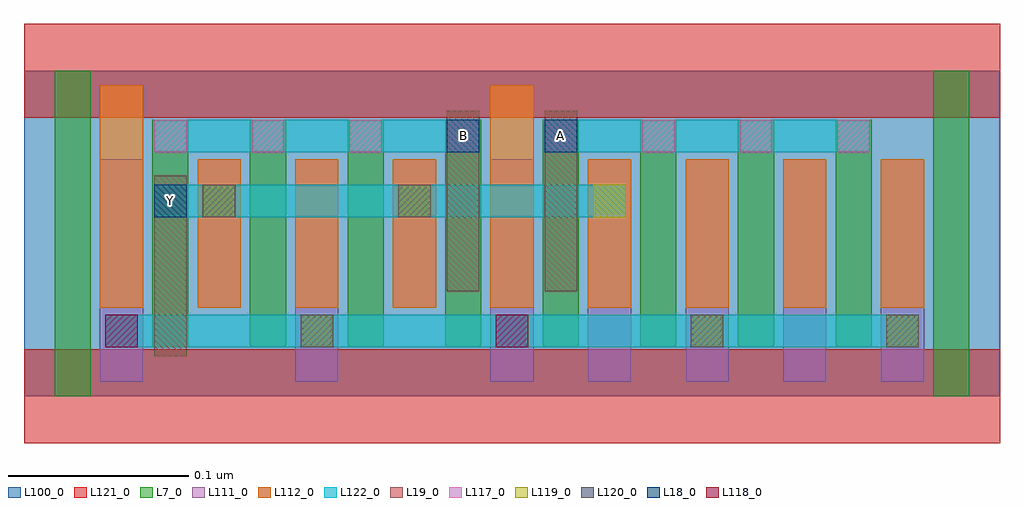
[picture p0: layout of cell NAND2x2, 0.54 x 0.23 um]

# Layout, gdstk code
import gdstk
lib = gdstk.Library(unit=1e-6, precision=2.5e-10)
def R(c, l, rs):  # rectangles x0, y0, x1, y1
    for r in rs: c.add(gdstk.rectangle(r[:2], r[2:], *l))
def A(c, l, x, y, w, h, nx, ny, dx, dy):  # array of equal rectangles
    R(c, l, [(x+i*dx, y+j*dy, x+i*dx+w, y+j*dy+h) for i in range(nx) for j in range(ny)])
L7_0 = (7, 0)
L18_0 = (18, 0)
L19_0 = (19, 0)
L100_0 = (100, 0)
L111_0 = (111, 0)
L112_0 = (112, 0)
L117_0 = (117, 0)
L118_0 = (118, 0)
L119_0 = (119, 0)
L120_0 = (120, 0)
L121_0 = (121, 0)
L122_0 = (122, 0)

nand2x2 = lib.new_cell('NAND2x2')
A(nand2x2, L7_0, 0.071, 0.027, 0.02, 0.126, 8, 1, 0.054, 0)
R(nand2x2, L7_0, [(0.017,0,0.037,0.18), (0.503,0,0.523,0.18)])
R(nand2x2, L18_0, [(0.072,0.099,0.09,0.117), (0.234,0.135,0.252,0.153), (0.288,0.135,0.306,0.153)])
R(nand2x2, L19_0, [(0.072,0.022,0.09,0.122), (0.234,0.058,0.252,0.158), (0.288,0.058,0.306,0.158)])
R(nand2x2, L100_0, [(0,0,0.54,0.18)])
A(nand2x2, L111_0, 0.042, 0.008, 0.024, 0.123, 3, 1, 0.108, 0)
A(nand2x2, L111_0, 0.312, 0.008, 0.024, 0.123, 4, 1, 0.054, 0)
R(nand2x2, L111_0, [(0.096,0.049,0.12,0.131), (0.204,0.049,0.228,0.131)])
A(nand2x2, L112_0, 0.096, 0.049, 0.024, 0.082, 3, 1, 0.054, 0)
A(nand2x2, L112_0, 0.312, 0.049, 0.024, 0.082, 4, 1, 0.054, 0)
R(nand2x2, L112_0, [(0.042,0.049,0.066,0.172), (0.258,0.049,0.282,0.172)])
A(nand2x2, L117_0, 0.072, 0.135, 0.018, 0.018, 8, 1, 0.054, 0)
R(nand2x2, L118_0, [(0.045,0.027,0.063,0.045), (0.261,0.027,0.279,0.045)])
A(nand2x2, L119_0, 0.099, 0.099, 0.018, 0.018, 3, 1, 0.108, 0)
R(nand2x2, L119_0, [(0.153,0.027,0.171,0.045), (0.369,0.027,0.387,0.045), (0.477,0.027,0.495,0.045)])
R(nand2x2, L120_0, [(0.153,0.027,0.171,0.045), (0.369,0.027,0.387,0.045), (0.477,0.027,0.495,0.045), (0.099,0.099,0.117,0.117), (0.207,0.099,0.225,0.117)])
R(nand2x2, L121_0, [(0,-0.026,0.54,0.026), (0,0.154,0.54,0.206)])
R(nand2x2, L122_0, [(0.045,0.027,0.495,0.045), (0.072,0.099,0.333,0.117), (0.072,0.135,0.252,0.153), (0.288,0.135,0.468,0.153)])
nand2x2.add(gdstk.Label('Y', (0.081,0.108), layer=19, texttype=251))
nand2x2.add(gdstk.Label('B', (0.243,0.144), layer=19, texttype=251))
nand2x2.add(gdstk.Label('A', (0.297,0.144), layer=19, texttype=251))

lib.write_gds('NAND2x2.gds')
